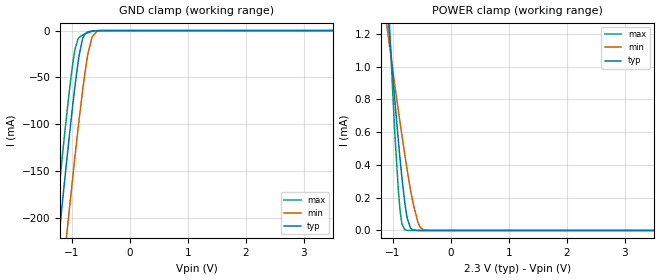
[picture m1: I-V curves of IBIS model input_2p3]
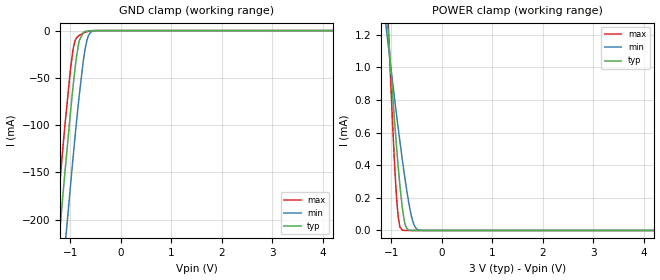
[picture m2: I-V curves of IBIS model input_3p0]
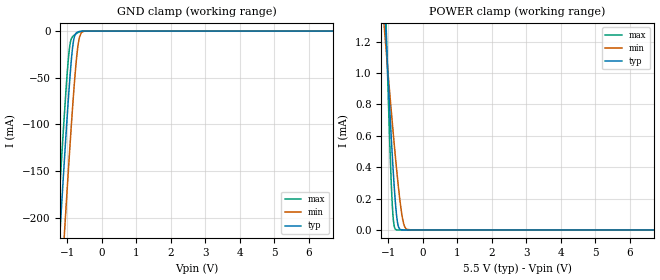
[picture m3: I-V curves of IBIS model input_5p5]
|Texas Instruments Incorporated
| ADS1219 24-Bit, 4-Channel, 1-kSPS, Delta-Sigma ADC with I2C Interface
[IBIS Ver]   4.1
[File name]   ads1219.ibs
[Date]   04/10/2018
[File Rev]   1.0
[Source]
| Texas Instruments Incorporated.
| Analog-eLab Design Center, HPA
| 12500 TI Blvd
| Dallas, TX -75243
[Notes]
| Rev 1.0: 04/10/2018
| - Initial version of the model
| - Model generated from simulations in SPECTRE
| - Model matched to SPICE simulation
| - C_comp although listed in numerical order of value are
|   obtained from varying PVT conditions. For PVT conditions for
|   each specific value refer the buffer description under
|   respective [Model]. IBIS model user is responsible for using
|   appropriate C_comp to simulate for Signal Integrity.
| - Model names with a trailing _2p3 contain the model
|   for 2.3V operation. Model names with a trailing _3p0 contain the model
|   for 3.0V operation. Model names with a trailing _5p5 contain the model
|   for 5.5V operation.
[Disclaimer]
| This model is designed as an aid for customers of Texas Instruments.
| TI and its licensors and suppliers make no warranties, either expressed
| or implied, with respect to this  model, including the warranties of
| merchantability or fitness for a particular purpose. The model is
| provided solely on an "as is" basis. The entire risk as to its quality
| and performance is with the customer.
| This model is subject to change without notice. Texas Instruments
| Incorporated is not responsible for updating this model.
[Copyright]
(C) Copyright 2018 Texas Instruments Incorporated.All rights reserved.
|  Component ADS1219 16-pin WQFN - RTE package
|  Part # ADS1219RTE
[Component]   ADS1219RTE
[Manufacturer]  TI
[Package]   |16 WQFN - RTE package
|   typ   min   max
R_pkg   0.0394   0.0151   0.0468
L_pkg   0.4777n   0.2352n   0.5625n
C_pkg   0.1161p   0.1027p   0.1532p
[Pin]  signal_name model_name   R_pin   L_pin   C_pin
1   _RESET   input   0.04364   0.51929n   0.10437p
2   DGND   gnd   0.04675   0.56254n   0.12128p
3   AVSS   gnd   0.01510   0.23522n   0.15320p
4   AIN3   nc   0.04259   0.50412n   0.10319p
5   AIN2   nc   0.04350   0.51984n   0.10401p
6   REFN   nc   0.04252   0.50707n   0.11572p
7   REFP   nc   0.04252   0.50708n   0.11572p
8   AIN1   nc   0.04350   0.51987n   0.10398p
9   AIN0   nc   0.04259   0.50566n   0.10271p
10   AVDD   power   0.02273   0.32151n   0.13862p
11   DVDD   power   0.02218   0.29920n   0.14152p
12   _DRDY   od   0.04575   0.54442n   0.10812p
13   SDA   od   0.04338   0.51106n   0.10360p
14   SCL   input1   0.04393   0.51800n   0.11737p
15   A0   input1   0.04495   0.53187n   0.11865p
16   A1   input1   0.04523   0.53621n   0.10596p
|  Component ADS1219 16-pin TSSOP - PW package
|  Part # ADS1219PW
[Component]   ADS1219PW
[Manufacturer]  TI
[Package]   |16 TSSOP - PW package
|   typ   min   max
R_pkg   0.0739   0.0315   0.0947
L_pkg   2.0495n   1.3367n   2.7567n
C_pkg   0.4273p   0.3528p   0.4885p
[Pin]  signal_name model_name   R_pin   L_pin   C_pin
1   A0   input1   0.09469   2.75674n   0.48428p
2   A1   input1   0.09030   2.34902n   0.48849p
3   _RESET   input   0.07098   1.71421n   0.35294p
4   DGND   gnd   0.07003   1.69633n   0.36007p
5   AVSS   gnd   0.03149   1.33667n   0.40841p
6   AIN3   nc   0.06991   1.69939n   0.35277p
7   AIN2   nc   0.08748   2.30352n   0.48491p
8   REFN   nc   0.08973   2.68353n   0.48054p
9   REFP   nc   0.08973   2.68358n   0.48053p
10   AIN1   nc   0.08748   2.30359n   0.48470p
11   AIN0   nc   0.07176   1.72925n   0.35329p
12   AVDD   power   0.04213   1.46233n   0.39035p
13   DVDD   power   0.04113   1.41378n   0.39561p
14   _DRDY   od   0.07647   1.80040n   0.36045p
15   SDA   od   0.08266   2.22479n   0.48157p
16   SCL   input1   0.08718   2.63560n   0.47761p
|   Model Selectors
[Model Selector] input
input_2p3   2.3V   digital Input
input_3p0   3.0V   digital Input
input_5p5   5.5V   digital Input
[Model Selector] input1
input1_2p3   2.3V   digital Input
input1_3p0   3.0V   digital Input
input1_5p5   5.5V   digital Input
[Model Selector] od
od_2p3   2.3V   digital I/O_open_drain
od_3p0   3.0V   digital I/O_open_drain
od_5p5   5.5V   digital I/O_open_drain
| Models and submodels in the file (9): input_2p3 (Input), input_3p0 (Input), input_5p5 (Input), input1_2p3 (Input), input1_3p0 (Input), input1_5p5 (Input), od_2p3 (I/O_open_drain), od_3p0 (I/O_open_drain), od_5p5 (I/O_open_drain)
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|   input_2p3 Model
[Model]   input_2p3
Model_type   Input
Vinl = 0.69
Vinh = 1.61
|   typ   min   max
C_comp   7.30483E-13   6.81776E-13   7.68495E-13
[Model spec]
|subparameter
Vinl   0.69   0.6897   0.6903
Vinh   1.61   1.6093   1.6107
| Where Nom  PVT is Nominal Process, 2.3V, 27C
|   Fast PVT is Strong Process,  2.301V, -40C
|   Slow PVT is Weak Process,   2.299, 125C
[Voltage Range]   2.3   2.299   2.301
[Temperature Range]   27   125   -40
[Power Clamp Reference]   2.3   2.299   2.301
[GND Clamp Reference]   0   0   0
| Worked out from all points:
|   GND clamp passes 1 mA (typ) near -0.70 V on its own axis
|   POWER clamp passes 1 mA (typ) near -1.01 V on its own axis
[GND Clamp]
|   Voltage   I(typ)   I(min)   I(max)
-2.3V     -914.9mA   -992.5mA   -866.7mA
-1.382V   -321.3mA   -401.4mA   -270.9mA
-1.155V   -179.7mA   -259.6mA   -129.5mA
-1.072V   -130.2mA   -209.4mA   -81.15mA
-995.9mV  -86.8mA    -164.3mA   -41.23mA
-940.7mV  -57.44mA   -132.5mA   -19.04mA
-871.7mV  -26.08mA   -94.28mA   -7.305mA
-816.5mV  -9.537mA   -65.77mA   -4.877mA
-740.6mV  -1.91mA    -31.86mA   -2.726mA
-650.9mV  -406.8uA   -7.043mA   -910.5uA
-519.8mV  -22.13uA   -233uA     -44.58uA
4.6V      0A         0A         0A
[POWER Clamp]
|   Voltage   I(typ)   I(min)   I(max)
-2.3V     7.288mA    4.671mA    11.91mA
-1.12V    1.492mA    1.304mA    1.767mA
-1.058V   1.211mA    1.138mA    1.282mA
-1.044V   1.149mA    1.101mA    1.177mA
-961.4mV  790.6uA    884.2uA    590.7uA
-899.3mV  538.9uA    725.9uA    235uA
-844.1mV  335.6uA    589.4uA    49.41uA
-788.9mV  165uA      458.3uA    4.283uA
-692.3mV  14.42uA    248.4uA    31.31nA
-568.1mV  131.3nA    53.88uA    0A
-450.8mV  0A         3.106uA    0A
4.6V      0A         0A         0A
|   input_3p0 Model
[Model]   input_3p0
Model_type   Input
Vinl = 0.9
Vinh = 2.1
|   typ   min   max
C_comp   7.07349E-13   6.57113E-13   7.47558E-13
[Model spec]
|subparameter
Vinl   0.9   0.8997   0.9003
Vinh   2.1   2.0993   2.1007
| Where Nom  PVT is Nominal Process, 3.0V, 27C
|   Fast PVT is Strong Process,  3.001V, -40C
|   Slow PVT is Weak Process,   2.999, 125C
[Voltage Range]   3   2.999   3.001
[Temperature Range]   27   125   -40
[Power Clamp Reference]   3   2.999   3.001
[GND Clamp Reference]   0   0   0
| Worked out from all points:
|   GND clamp passes 1 mA (typ) near -0.70 V on its own axis
|   POWER clamp passes 1 mA (typ) near -1.01 V on its own axis
[GND Clamp]
|   Voltage   I(typ)   I(min)   I(max)
-3V       -1.375A    -1.45A     -1.328A
-1.317V   -280.2mA   -360.4mA   -229.6mA
-1.155V   -179.9mA   -259.9mA   -129.7mA
-1.101V   -147.5mA   -227mA     -97.84mA
-1.002V   -90.18mA   -167.9mA   -44.16mA
-930mV    -52.09mA   -126.4mA   -15.99mA
-876mV    -27.77mA   -96.59mA   -7.609mA
-831mV    -12.88mA   -73.02mA   -5.371mA
-723mV    -1.396mA   -25.38mA   -2.299mA
-633mV    -290.5uA   -4.673mA   -671.7uA
-498mV    -12.62uA   -127.9uA   -23.31uA
6V        0A         0A         0A
[POWER Clamp]
|   Voltage   I(typ)   I(min)   I(max)
-3V       10.82mA    6.729mA    18.02mA
-1.101V   1.406mA    1.253mA    1.617mA
-1.065V   1.243mA    1.157mA    1.336mA
-1.02V    1.043mA    1.037mA    998.2uA
-939mV    698.1uA    826.9uA    450.8uA
-885mV    484.3uA    690.5uA    172.1uA
-831mV    291.7uA    558.1uA    29.42uA
-777mV    134.9uA    431.2uA    2.404uA
-705mV    22.06uA    274.3uA    61.99nA
-588mV    287.5nA    75.89uA    0A
-435mV    0A         1.989uA    0A
6V        0A         0A         0A
|   input_5p5 Model
[Model]   input_5p5
Model_type   Input
Vinl = 1.65
Vinh = 3.85
|   typ   min   max
C_comp   6.54074E-13   6.02058E-13   6.91253E-13
[Model spec]
|subparameter
Vinl   1.65   1.6497   1.6503
Vinh   3.85   3.8493   3.8507
| Where Nom  PVT is Nominal Process, 5.5V, 27C
|   Fast PVT is Strong Process,  5.501V, -40C
|   Slow PVT is Weak Process,   5.499, 125C
[Voltage Range]   5.5   5.499   5.501
[Temperature Range]   27   125   -40
[Power Clamp Reference]   5.5   5.499   5.501
[GND Clamp Reference]   0   0   0
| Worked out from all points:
|   GND clamp passes 1 mA (typ) near -0.70 V on its own axis
|   POWER clamp passes 1 mA (typ) near -1.01 V on its own axis
[GND Clamp]
|   Voltage   I(typ)   I(min)   I(max)
-5.5V     -3.028A    -3.1A      -2.983A
-1.375V   -316.7mA   -396.8mA   -266.2mA
-1.243V   -234mA     -314.2mA   -183.5mA
-1.194V   -203.5mA   -283.5mA   -153mA
-1.111V   -153.4mA   -233mA     -103.7mA
-1.045V   -114.6mA   -193.3mA   -66.35mA
-946mV    -60.14mA   -135.5mA   -20.73mA
-830.5mV  -12.75mA   -72.77mA   -5.353mA
-682mV    -700.8uA   -13.19mA   -1.431mA
-599.5mV  -146.1uA   -2.018mA   -345.4uA
-451mV    -3.532uA   -35uA      -5.166uA
11V       0A         0A         0A
[POWER Clamp]
|   Voltage   I(typ)   I(min)   I(max)
-5.5V     23.46mA    14.23mA    39.8mA
-1.111V   1.453mA    1.282mA    1.698mA
-1.045V   1.155mA    1.105mA    1.186mA
-946mV    728.4uA    846.2uA    495uA
-880mV    466.7uA    679.2uA    152.9uA
-830.5mV  291uA      558uA      28.98uA
-764.5mV  106.7uA    403.8uA    1.302uA
-698.5mV  17.92uA    261.9uA    38.57nA
-599.5mV  449nA      90.94uA    0A
-517mV    8.012nA    18.19uA    0A
-451mV    0A         3.146uA    0A
11V       0A         0A         0A
